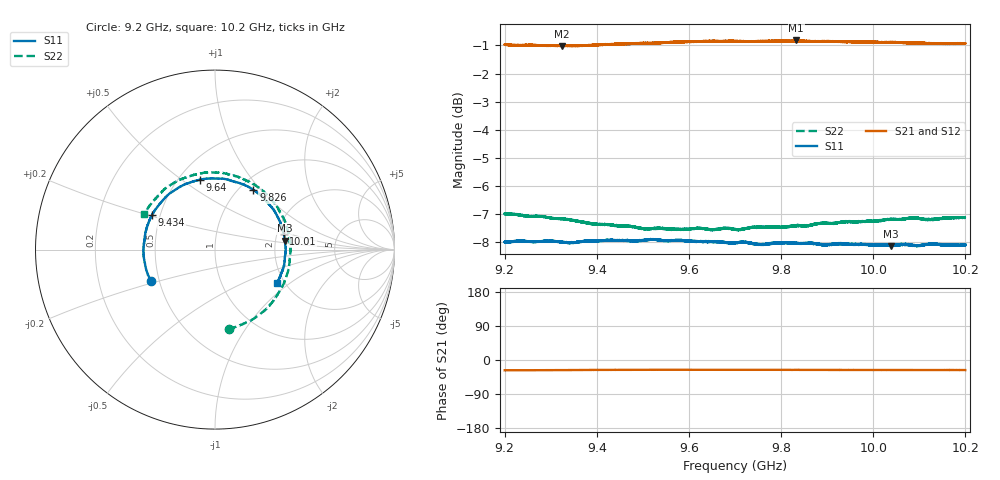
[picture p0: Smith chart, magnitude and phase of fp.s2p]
!Agilent Technologies,N5242A,MY51221714,A.09.90.19
!Agilent N5242A: A.09.90.19
!Date: Tuesday, March 26, 2024 17:05:59
!Correction: S11(Full 2 Port(1,2))
!S21(Full 2 Port(1,2))
!S12(Full 2 Port(1,2))
!S22(Full 2 Port(1,2))
!S2P File: Measurements: S11, S21, S12, S22:
# Hz S  dB  R 50
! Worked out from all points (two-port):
!   16001 points, 9.2 GHz to 10.2 GHz, reference 50 ohm
!   highest |S21| = -0.82 dB at 9.833 GHz (marker M1); lowest = -1.0 dB at 9.325 GHz (marker M2)
!   |S21| within 3 dB of the highest: start of sweep to end of sweep
!   lowest |S11| = -8.2 dB at 10.04 GHz (marker M3), VSWR 2.28, Z = 112 + j13.1 ohm
!   |S11| at or under -10 dB: nowhere
!   |S22| runs from -7.6 to -7.0 dB; largest |S21 - S12| = 0.013
!   S11 on the Smith chart (normalised r, x): 9.2 GHz: 0.45, -0.19; 9.434 GHz: 0.45, +0.21; 9.64 GHz: 0.63, +0.59; 9.826 GHz: 1.16, +0.91; 10.01 GHz: 2.18, +0.45; 10.2 GHz: 1.82, -0.81
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9.2e9  -8.01 -153.7  -0.97 -27.3  -0.95 -28.0  -7.01 -80.2
9.273875e9  -8.00 -171.3  -0.99 -27.0  -0.97 -27.6  -7.10 -62.6
9.325188e9  -8.02 176.5  -1.03 -26.7  -0.98 -27.2  -7.19 -50.4
9.366688e9  -7.99 167.1  -1.01 -26.4  -0.99 -27.1  -7.30 -40.5
9.433812e9  -7.93 151.1  -0.95 -26.0  -0.95 -26.8  -7.40 -24.3
9.475938e9  -7.97 141.1  -0.93 -26.0  -0.93 -26.7  -7.47 -13.8
9.533375e9  -7.95 127.4  -0.91 -25.9  -0.89 -26.4  -7.51 0.6
9.590125e9  -7.97 114.2  -0.88 -25.9  -0.86 -26.5  -7.57 14.3
9.639875e9  -8.00 102.3  -0.85 -25.9  -0.85 -26.5  -7.56 26.3
9.7e9  -8.05 88.0  -0.85 -26.0  -0.83 -26.6  -7.56 40.8
9.735062e9  -8.04 79.3  -0.85 -26.0  -0.84 -26.6  -7.50 49.4
9.775062e9  -8.07 70.0  -0.84 -26.0  -0.84 -26.6  -7.48 58.7
9.826312e9  -8.06 57.2  -0.85 -26.0  -0.83 -26.6  -7.42 71.0
9.832688e9  -8.05 55.7  -0.82 -26.1  -0.84 -26.6  -7.42 72.4
9.866688e9  -8.06 47.6  -0.85 -26.1  -0.85 -26.7  -7.40 80.1
9.938625e9  -8.08 30.4  -0.87 -26.3  -0.87 -26.8  -7.29 96.7
1.0014e10  -8.12 12.9  -0.88 -26.4  -0.88 -26.9  -7.25 113.2
1.003338e10  -8.14 8.5  -0.89 -26.3  -0.87 -26.9  -7.19 117.5
1.003881e10  -8.16 7.3  -0.89 -26.4  -0.89 -26.9  -7.20 118.5
1.009125e10  -8.14 -4.7  -0.91 -26.4  -0.91 -26.9  -7.17 130.1
1.012338e10  -8.10 -11.7  -0.92 -26.5  -0.92 -27.0  -7.21 137.3
1.02e10  -8.10 -28.6  -0.93 -26.5  -0.92 -27.1  -7.14 153.5
